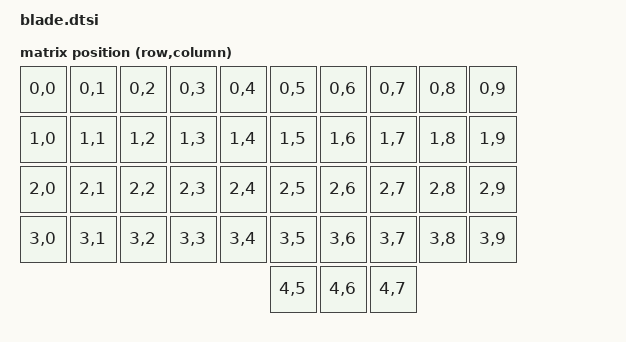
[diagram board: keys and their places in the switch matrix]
/*
 * Copyright (c) 2020 The ZMK Contributors
 *
 * SPDX-License-Identifier: MIT
 */

#include <dt-bindings/zmk/matrix_transform.h>

/* blade-specific: common settings */ 
/ {

	chosen: chosen {
		zmk,kscan = &kscan;
		zmk,matrix_transform = &default_transform;
	};

/* global matrix transform */
	default_transform: keymap_transform_0 {
		compatible = "zmk,matrix-transform";
		columns = <10>;
		rows = <5>;
		map = <
RC(0,0) RC(0,1) RC(0,2) RC(0,3) RC(0,4)  RC(0,5) RC(0,6) RC(0,7) RC(0,8) RC(0,9)
RC(1,0) RC(1,1) RC(1,2) RC(1,3) RC(1,4)  RC(1,5) RC(1,6) RC(1,7) RC(1,8) RC(1,9)
RC(2,0) RC(2,1) RC(2,2) RC(2,3) RC(2,4)  RC(2,5) RC(2,6) RC(2,7) RC(2,8) RC(2,9)
RC(3,0) RC(3,1) RC(3,2) RC(3,3) RC(3,4)  RC(3,5) RC(3,6) RC(3,7) RC(3,8) RC(3,9)
                                         RC(4,5) RC(4,6) RC(4,7)
		>;

	};

  /* Scan matrix declaration */
	kscan: kscan {
		compatible = "zmk,kscan-composite";
		label = "KSCAN";
		rows = <5>;
		columns = <10>;

    /* There is a key matrix by default */
		normal_keys {
			kscan = <&kscan0>;
		};
	};

  /* Configure sliders (both split can have a slider) */
	sliders {
		compatible = "zmk,keymap-sliders";
		sliders = <&slider_left &slider_right>;
	};

  /* Configure trackballs (either split can have the trackball) */
	trackballs {
		compatible = "zmk,keymap-trackballs";
		trackballs = <&trackball>;
	};

  /* Configure encoders (both splits can have a encoder) */
	sensors {
		compatible = "zmk,keymap-sensors";
		sensors = <&encoder_left &encoder_right>;
	};
  
  // define the two encoders
	encoder_left: encoder_left {
		compatible = "alps,ec11";
    status = "disabled";
		label = "LEFT_ENCODER";
		resolution = <2>;
	};

	encoder_right: encoder_right {
		compatible = "alps,ec11";
    status = "disabled";
		label = "RIGHT_ENCODER";
    resolution = <2>;
	};
};

/* Declare the two sliders */
&i2c0 {
  compatible = "nordic,nrf-twi";
  status = "okay";

  slider_left: slider_left@28 {
	  compatible = "zmk,kscan-cap1203";
	  label = "SLIDER_LEFT";
    status = "disabled";
    reg = <0x28>;
  };

  slider_right: slider_right@28 {
	  compatible = "zmk,kscan-cap1203";
	  label = "SLIDER_RIGHT";
    status = "disabled";
    reg = <0x28>;
  };

};

/* Declare the trackball */
&spi2 {
  compatible = "nordic,nrf-spim";

  trackball: trackball@0 {
    compatible = "pixart,pmw3610";
    status = "disabled";
    reg = <0>;
    label = "TRACKBALL";
    spi-max-frequency = <2000000>;
    duplex = <2048>; // required by 3-wire spi
  };
};
